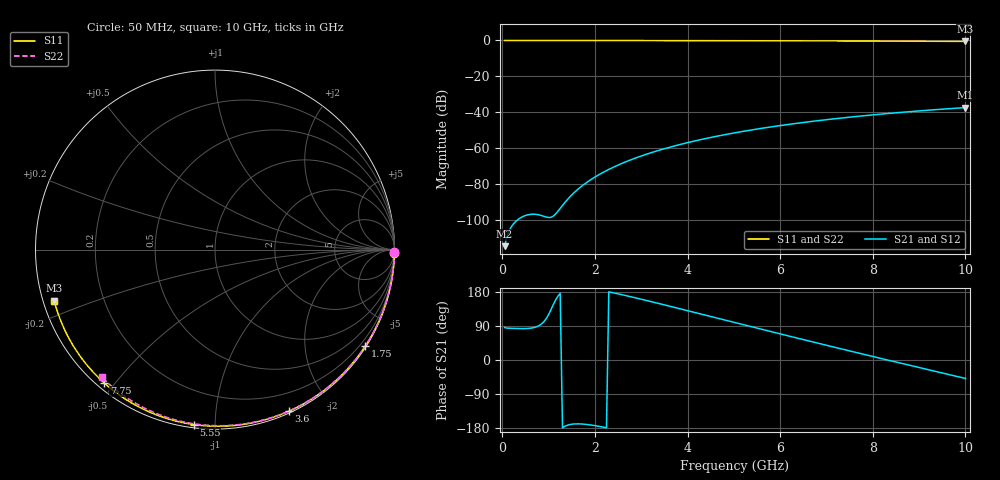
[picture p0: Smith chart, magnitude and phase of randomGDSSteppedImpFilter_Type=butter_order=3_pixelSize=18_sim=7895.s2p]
! freq	dB(S11)	phase(S11)	dB(S12)	phase(S12)
!  dB(S21)	phase(S21)	dB(S22)	phase(S22)
!S-par simulation data
#  GHz  S  DB  R 50
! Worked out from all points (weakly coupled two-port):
!   200 points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, 50 MHz to 10 GHz, reference 50 ohm
!   highest |S21| = -37.43 dB at 10 GHz (marker M1); lowest = -114.7 dB at 50 MHz (marker M2)
!   lowest |S11| = -0.5 dB at 10 GHz (marker M3), VSWR 32.33, Z = 1.58 - j7.73 ohm
!   |S11| at or under -10 dB: nowhere
!   |S22| runs from -0.4 to 0.0 dB; largest |S21 - S12| = 0
!   S11 on the Smith chart (normalised r, x): 50 MHz: open; 1.75 GHz: 0.03, -3.40; 3.6 GHz: 0.02, -1.56; 5.55 GHz: 0.02, -0.89; 7.75 GHz: 0.02, -0.47; 10 GHz: 0.03, -0.15
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0.05  -0.00 -1.0  -114.72 85.7  -114.72 85.7  -0.00 -0.8
0.45  -0.01 -8.6  -98.12 82.8  -98.12 82.8  -0.01 -6.8
0.85  -0.02 -16.1  -97.66 95.5  -97.66 95.5  -0.02 -12.9
1.3  -0.03 -24.5  -92.00 -178.8  -92.00 -178.8  -0.02 -19.6
1.75  -0.04 -32.8  -80.55 -169.2  -80.55 -169.2  -0.03 -26.3
1.8  -0.04 -33.7  -79.59 -169.8  -79.59 -169.8  -0.03 -27.0
1.95  -0.05 -36.4  -76.97 -172.2  -76.97 -172.2  -0.04 -29.2
2.15  -0.05 -40.0  -73.93 -176.5  -73.93 -176.5  -0.04 -32.1
2.5  -0.06 -46.3  -69.49 174.6  -69.49 174.6  -0.05 -37.2
2.9  -0.07 -53.3  -65.35 163.3  -65.35 163.3  -0.06 -42.9
3.4  -0.08 -62.0  -61.12 148.5  -61.12 148.5  -0.07 -50.0
3.6  -0.09 -65.4  -59.64 142.4  -59.64 142.4  -0.07 -52.8
4.3  -0.11 -77.1  -55.20 121.0  -55.20 121.0  -0.09 -62.4
5.05  -0.14 -89.1  -51.37 97.9  -51.37 97.9  -0.11 -72.3
5.55  -0.16 -96.9  -49.21 82.6  -49.21 82.6  -0.13 -78.8
6.1  -0.19 -105.3  -47.11 65.9  -47.11 65.9  -0.15 -85.8
6.7  -0.22 -114.3  -45.09 47.8  -45.09 47.8  -0.18 -93.2
7.2  -0.26 -121.7  -43.60 32.9  -43.60 32.9  -0.21 -99.3
7.75  -0.30 -129.7  -42.12 16.6  -42.12 16.6  -0.24 -105.8
8.35  -0.35 -138.4  -40.68 -1.0  -40.68 -1.0  -0.29 -112.9
9.2  -0.44 -150.7  -38.88 -25.6  -38.88 -25.6  -0.36 -122.6
10  -0.54 -162.4  -37.43 -48.6  -37.43 -48.6  -0.44 -131.7
